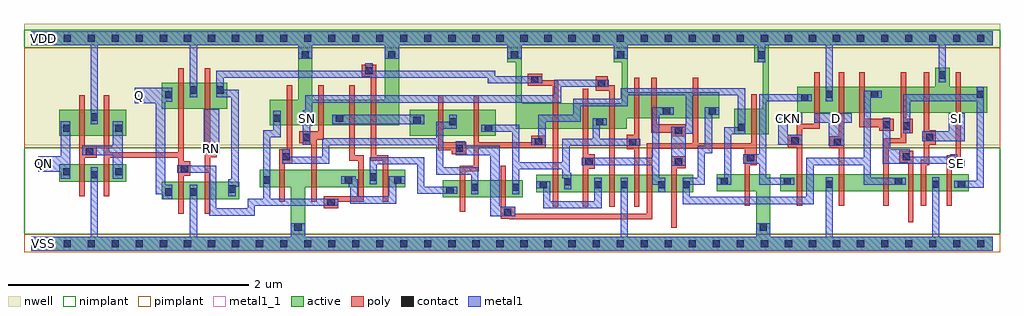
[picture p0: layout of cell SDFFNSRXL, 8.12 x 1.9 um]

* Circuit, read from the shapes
.subckt SDFFNSRXL CKN D Q QN RN SE SI SN VDD VSS
M1 VSS n1 QN VSS nfet w=0.145u l=0.045u
M2 n1 n2 VSS VSS nfet w=0.145u l=0.045u
M3 VSS n2 Q VSS nfet w=0.145u l=0.045u
M4 n3 RN VSS VSS nfet w=0.145u l=0.045u
M5 VSS n4 n2 VSS nfet w=0.145u l=0.045u
M6 n5 SN VSS VSS nfet w=0.145u l=0.045u
M7 n6 n2 n5 VSS nfet w=0.145u l=0.045u
M8 n5 n3 n6 VSS nfet w=0.145u l=0.045u
M9 n4 n7 n6 VSS nfet w=0.145u l=0.045u
M10 n8 n9 n4 VSS nfet w=0.145u l=0.045u
M11 n8 n3 n10 VSS nfet w=0.145u l=0.045u
M12 n10 n11 n8 VSS nfet w=0.145u l=0.045u
M13 VSS SN n10 VSS nfet w=0.145u l=0.045u
M14 n12 n8 VSS VSS nfet w=0.145u l=0.045u
M15 n11 n9 n12 VSS nfet w=0.145u l=0.045u
M16 n13 n7 n11 VSS nfet w=0.145u l=0.045u
M17 VSS n9 n7 VSS nfet w=0.145u l=0.045u
M18 VSS CKN n9 VSS nfet w=0.145u l=0.045u
M19 n14 D VSS VSS nfet w=0.145u l=0.045u
M20 n13 n15 n14 VSS nfet w=0.145u l=0.045u
M21 n16 SE n13 VSS nfet w=0.145u l=0.045u
M22 VSS SI n16 VSS nfet w=0.145u l=0.045u
M23 n15 SE VSS VSS nfet w=0.145u l=0.045u
M24 VDD n1 QN VDD pfet w=0.215u l=0.045u
M25 n1 n2 VDD VDD pfet w=0.215u l=0.045u
M26 VDD n2 Q VDD pfet w=0.215u l=0.045u
M27 n3 RN VDD VDD pfet w=0.215u l=0.045u
M28 VDD n4 n2 VDD pfet w=0.215u l=0.045u
M29 n17 SN VDD VDD pfet w=0.215u l=0.045u
M30 n18 n2 n17 VDD pfet w=0.215u l=0.045u
M31 VDD n3 n18 VDD pfet w=0.215u l=0.045u
M32 n4 n9 n17 VDD pfet w=0.215u l=0.045u
M33 n8 n7 n4 VDD pfet w=0.215u l=0.045u
M34 n19 n3 VDD VDD pfet w=0.215u l=0.045u
M35 n8 n11 n19 VDD pfet w=0.215u l=0.045u
M36 VDD SN n8 VDD pfet w=0.215u l=0.045u
M37 n20 n8 VDD VDD pfet w=0.215u l=0.045u
M38 n11 n7 n20 VDD pfet w=0.215u l=0.045u
M39 n13 n9 n11 VDD pfet w=0.215u l=0.045u
M40 VDD n9 n7 VDD pfet w=0.215u l=0.045u
M41 VDD CKN n9 VDD pfet w=0.215u l=0.045u
M42 n21 D VDD VDD pfet w=0.215u l=0.045u
M43 n13 SE n21 VDD pfet w=0.215u l=0.045u
M44 n22 n15 n13 VDD pfet w=0.215u l=0.045u
M45 VDD SI n22 VDD pfet w=0.215u l=0.045u
M46 n15 SE VDD VDD pfet w=0.215u l=0.045u
.ends

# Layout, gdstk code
import gdstk
lib = gdstk.Library(unit=1e-6, precision=5e-10)
def R(c, l, rs):  # rectangles x0, y0, x1, y1
    for r in rs: c.add(gdstk.rectangle(r[:2], r[2:], *l))
def A(c, l, x, y, w, h, nx, ny, dx, dy):  # array of equal rectangles
    R(c, l, [(x+i*dx, y+j*dy, x+i*dx+w, y+j*dy+h) for i in range(nx) for j in range(ny)])
def P(c, l, *ps):  # polygons
    for p in ps: c.add(gdstk.Polygon(p, *l))
active = (1, 0)
nwell = (2, 0)
poly = (3, 0)
nimplant = (4, 0)
pimplant = (5, 0)
contact = (6, 0)
metal1 = (7, 0)
metal1_1 = (7, 1)

sdffnsrxl = lib.new_cell('SDFFNSRXL')
R(sdffnsrxl, active, [(1.085,0.37,1.73,0.515), (3.425,0.385,4.09,0.53), (4.2,0.43,5.51,0.575), (6.23,0.435,7.8,0.58), (0.235,0.515,0.79,0.66), (0.235,0.9,0.79,1.115), (3.15,0.9,3.865,1.115), (1.085,1.125,1.63,1.34)])
P(sdffnsrxl, active, [(0,1.77),(8,1.77),(8,1.65),(6.135,1.65),(6.135,0.91),(5.85,0.91),(5.85,1.125),(6.085,1.125),(6.085,1.51),(6.015,1.51),(6.015,1.65),(4.965,1.65),(4.965,1.26),(5.725,1.26),(5.725,1.045),(4.955,1.045),(4.955,0.955),(4.03,0.955),(4.03,1.51),(3.96,1.51),(3.96,1.65),(4.08,1.65),(4.08,1.17),(4.915,1.17),(4.915,1.51),(4.845,1.51),(4.845,1.65),(3.06,1.65),(3.06,0.985),(1.985,0.985),(1.985,1.2),(2.22,1.2),(2.22,1.65),(2.34,1.65),(2.34,1.2),(2.94,1.2),(2.94,1.65),(0,1.65)],
  [(7.52,1.465),(7.64,1.465),(7.64,1.305),(7.955,1.305),(7.955,1.09),(6.375,1.09),(6.375,1.305),(7.52,1.305)],
  [(1.9,0.615),(3.11,0.615),(3.11,0.47),(2.28,0.47),(2.28,0.06),(6.03,0.06),(6.03,0.435),(5.705,0.435),(5.705,0.58),(6.15,0.58),(6.15,0.06),(8,0.06),(8,-0.06),(0,-0.06),(0,0.06),(2.16,0.06),(2.16,0.47),(1.9,0.47)])
R(sdffnsrxl, nwell, [(-0.06,0.82,8.06,1.83)])
P(sdffnsrxl, poly, [(0.4,1.235),(0.445,1.235),(0.445,0.815),(0.545,0.815),(0.545,0.715),(0.445,0.715),(0.445,0.395),(0.4,0.395)],
  [(0.605,1.235),(0.65,1.235),(0.65,0.76),(1.225,0.76),(1.225,1.46),(1.27,1.46),(1.27,0.685),(1.325,0.685),(1.325,0.565),(1.27,0.565),(1.27,0.25),(1.225,0.25),(1.225,0.715),(0.65,0.715),(0.65,0.395),(0.605,0.395)],
  [(1.445,1.46),(1.49,1.46),(1.49,0.84),(1.545,0.84),(1.545,0.72),(1.49,0.72),(1.49,0.25),(1.445,0.25)],
  [(2.125,1.32),(2.17,1.32),(2.17,0.665),(2.11,0.665),(2.11,0.35),(2.065,0.35),(2.065,0.785),(2.125,0.785)],
  [(2.75,1.49),(2.87,1.49),(2.87,0.735),(2.97,0.735),(2.97,0.35),(2.925,0.35),(2.925,0.69),(2.825,0.69),(2.825,1.39),(2.75,1.39)],
  [(2.39,1.32),(2.435,1.32),(2.435,0.865),(2.375,0.865),(2.375,0.35),(2.33,0.35),(2.33,0.835),(2.23,0.835),(2.23,0.935),(2.39,0.935)],
  [(2.645,1.32),(2.69,1.32),(2.69,0.735),(2.765,0.735),(2.765,0.35),(2.555,0.35),(2.555,0.295),(2.435,0.295),(2.435,0.395),(2.72,0.395),(2.72,0.69),(2.645,0.69)],
  [(3.385,1.235),(3.43,1.235),(3.43,0.845),(3.62,0.845),(3.62,0.745),(3.5,0.745),(3.5,0.78),(3.385,0.78)],
  [(3.68,1.235),(3.725,1.235),(3.725,0.845),(4.16,0.845),(4.16,0.9),(4.28,0.9),(4.28,0.8),(3.725,0.8),(3.725,0.605),(3.61,0.605),(3.61,0.265),(3.565,0.265),(3.565,0.65),(3.68,0.65)],
  [(4.695,1.395),(4.795,1.395),(4.795,1.32),(4.855,1.32),(4.855,0.31),(4.81,0.31),(4.81,1.275),(4.695,1.275)],
  [(4.13,1.415),(4.25,1.415),(4.25,1.36),(4.385,1.36),(4.385,0.31),(4.34,0.31),(4.34,1.315),(4.13,1.315)],
  [(5.015,1.38),(5.06,1.38),(5.06,0.31),(5.015,0.31),(5.015,0.785),(4.955,0.785),(4.955,0.905),(5.015,0.905)],
  [(5.16,1.38),(5.205,1.38),(5.205,0.995),(5.445,0.995),(5.445,0.895),(5.325,0.895),(5.325,0.925),(5.16,0.925)],
  [(5.505,1.38),(5.55,1.38),(5.55,0.835),(5.99,0.835),(5.99,1.245),(6.035,1.245),(6.035,0.655),(5.98,0.655),(5.98,0.315),(5.935,0.315),(5.935,0.79),(5.165,0.79),(5.165,0.205),(3.98,0.205),(3.98,0.21),(3.905,0.21),(3.905,0.65),(3.95,0.65),(3.95,0.31),(4.025,0.31),(4.025,0.25),(5.12,0.25),(5.12,0.835),(5.505,0.835)],
  [(6.515,1.425),(6.56,1.425),(6.56,0.955),(6.415,0.955),(6.415,0.315),(6.37,0.315),(6.37,0.805),(6.295,0.805),(6.295,0.905),(6.37,0.905),(6.37,1),(6.515,1)],
  [(6.72,1.425),(6.765,1.425),(6.765,0.315),(6.72,0.315),(6.72,0.795),(6.645,0.795),(6.645,0.895),(6.72,0.895)],
  [(6.89,1.425),(6.935,1.425),(6.935,1.04),(7.175,1.04),(7.175,0.94),(7.055,0.94),(7.055,0.97),(6.89,0.97)],
  [(7.235,1.425),(7.28,1.425),(7.28,1.04),(7.335,1.04),(7.335,0.92),(7.28,0.92),(7.28,0.835),(7.135,0.835),(7.135,0.315),(7.09,0.315),(7.09,0.88),(7.235,0.88)],
  [(7.425,1.425),(7.47,1.425),(7.47,0.945),(7.525,0.945),(7.525,0.825),(7.47,0.825),(7.47,0.655),(7.445,0.655),(7.445,0.315),(7.4,0.315),(7.4,0.7),(7.425,0.7)],
  [(7.69,1.425),(7.735,1.425),(7.735,0.635),(7.66,0.635),(7.66,0.315),(7.615,0.315),(7.615,0.735),(7.69,0.735)],
  [(4.59,1.29),(4.635,1.29),(4.635,0.745),(4.69,0.745),(4.69,0.625),(4.635,0.625),(4.635,0.31),(4.59,0.31)],
  [(7.22,0.775),(7.34,0.775),(7.34,0.18),(7.295,0.18),(7.295,0.675),(7.22,0.675)],
  [(5.325,0.73),(5.445,0.73),(5.445,0.63),(5.37,0.63),(5.37,0.135),(5.325,0.135)])
R(sdffnsrxl, nimplant, [(-0.06,0.08,8.06,0.8), (-0.06,1.63,8.06,1.78)])
R(sdffnsrxl, pimplant, [(-0.06,-0.07,8.06,0.08), (-0.06,0.8,8.06,1.63)])
A(sdffnsrxl, contact, 0.07, -0.03, 0.06, 0.06, 40, 2, 0.2, 1.71)
R(sdffnsrxl, contact, [(2.19,0.11,2.25,0.17), (6.06,0.11,6.12,0.17), (3.935,0.23,3.995,0.29), (2.465,0.315,2.525,0.375), (1.115,0.4,1.175,0.46), (1.32,0.4,1.38,0.46), (3.455,0.415,3.515,0.475), (1.64,0.425,1.7,0.485), (3.66,0.44,3.72,0.5), (4,0.44,4.06,0.5), (4.23,0.46,4.29,0.52), (4.685,0.46,4.745,0.52), (4.905,0.46,4.965,0.52), (5.215,0.46,5.275,0.52), (5.42,0.46,5.48,0.52), (6.61,0.465,6.67,0.525), (7.495,0.465,7.555,0.525), (7.71,0.465,7.77,0.525), (4.435,0.485,4.495,0.545), (5.735,0.49,5.795,0.55), (6.26,0.49,6.32,0.55), (7.185,0.49,7.245,0.55), (1.93,0.5,1.99,0.56), (2.61,0.5,2.67,0.56), (3.02,0.5,3.08,0.56), (2.815,0.525,2.875,0.585), (0.495,0.545,0.555,0.605), (0.265,0.57,0.325,0.63), (0.7,0.57,0.76,0.63), (1.245,0.595,1.305,0.655), (5.355,0.65,5.415,0.71), (4.61,0.655,4.67,0.715), (7.645,0.655,7.705,0.715), (5.955,0.685,6.015,0.745), (2.09,0.695,2.15,0.755), (7.25,0.695,7.31,0.755), (0.455,0.735,0.515,0.795), (1.465,0.75,1.525,0.81), (3.53,0.765,3.59,0.825), (4.975,0.815,5.035,0.875), (6.675,0.815,6.735,0.875), (4.19,0.82,4.25,0.88), (6.325,0.825,6.385,0.885), (2.26,0.855,2.32,0.915), (7.445,0.855,7.505,0.915), (5.355,0.915,5.415,0.975), (0.265,0.93,0.325,0.99), (0.7,0.93,0.76,0.99), (3.775,0.93,3.835,0.99), (5.88,0.94,5.94,1), (7.255,0.95,7.315,1.01), (7.085,0.96,7.145,1.02), (3.48,0.985,3.54,1.045), (4.7,0.985,4.76,1.045), (3.18,0.995,3.24,1.055), (2.015,1.015,2.075,1.075), (2.535,1.015,2.595,1.075), (0.495,1.025,0.555,1.085), (5.255,1.075,5.315,1.135), (5.635,1.075,5.695,1.135), (6.405,1.185,6.465,1.245), (1.115,1.21,1.175,1.27), (6.61,1.215,6.67,1.275), (6.985,1.215,7.045,1.275), (7.865,1.215,7.925,1.275), (1.32,1.25,1.38,1.31), (1.54,1.25,1.6,1.31), (4.715,1.305,4.775,1.365), (4.16,1.335,4.22,1.395), (7.55,1.375,7.61,1.435), (2.78,1.41,2.84,1.47), (2.25,1.54,2.31,1.6), (2.97,1.54,3.03,1.6), (3.99,1.54,4.05,1.6), (4.875,1.54,4.935,1.6), (6.045,1.54,6.105,1.6)])
R(sdffnsrxl, metal1, [(1.435,0.75,1.565,1.12), (2.505,0.995,3.27,1.075)])
P(sdffnsrxl, metal1, [(0,1.77),(8,1.77),(8,1.65),(7.61,1.65),(7.61,1.345),(7.55,1.345),(7.55,1.65),(6.67,1.65),(6.67,1.185),(6.61,1.185),(6.61,1.65),(6.105,1.65),(6.105,1.51),(6.045,1.51),(6.045,1.65),(4.965,1.65),(4.965,1.54),(4.845,1.54),(4.845,1.65),(4.08,1.65),(4.08,1.54),(3.96,1.54),(3.96,1.65),(3.06,1.65),(3.06,1.54),(2.94,1.54),(2.94,1.65),(2.34,1.65),(2.34,1.54),(2.22,1.54),(2.22,1.65),(1.38,1.65),(1.38,1.22),(1.32,1.22),(1.32,1.65),(0.555,1.65),(0.555,0.995),(0.495,0.995),(0.495,1.65),(0,1.65)],
  [(2.78,1.5),(2.84,1.5),(2.84,1.44),(3.86,1.44),(3.86,1.395),(4.25,1.395),(4.25,1.335),(3.8,1.335),(3.8,1.38),(1.6,1.38),(1.6,1.28),(1.725,1.28),(1.725,0.475),(1.7,0.475),(1.7,0.395),(1.64,0.395),(1.64,0.535),(1.665,0.535),(1.665,1.22),(1.54,1.22),(1.54,1.44),(2.78,1.44)],
  [(0.86,1.3),(1.175,1.3),(1.175,1.18),(1.115,1.18),(1.115,0.49),(1.175,0.49),(1.175,0.37),(1.095,0.37),(1.095,0.41),(1.035,0.41),(1.035,1.17),(0.86,1.17)],
  [(0.245,1.02),(0.325,1.02),(0.325,0.54),(0.245,0.54),(0.245,0.6),(0.06,0.6),(0.06,0.73),(0.245,0.73)],
  [(0.68,1.02),(0.76,1.02),(0.76,0.54),(0.68,0.54),(0.68,0.735),(0.425,0.735),(0.425,0.815),(0.68,0.815)],
  [(4.35,1.365),(4.805,1.365),(4.805,1.305),(4.41,1.305),(4.41,1.175),(2.34,1.175),(2.34,0.98),(2.32,0.98),(2.32,0.825),(2.26,0.825),(2.26,1.11),(2.28,1.11),(2.28,1.235),(4.35,1.235)],
  [(4.905,1.295),(5.94,1.295),(5.94,0.91),(5.825,0.91),(5.825,0.49),(5.705,0.49),(5.705,0.55),(5.765,0.55),(5.765,0.97),(5.88,0.97),(5.88,1.235),(5.505,1.235),(5.505,0.915),(5.445,0.915),(5.445,0.65),(5.325,0.65),(5.325,0.975),(5.445,0.975),(5.445,1.235),(4.965,1.235),(4.965,1.145),(4.57,1.145),(4.57,1.015),(4.28,1.015),(4.28,0.82),(4.16,0.82),(4.16,0.88),(4.22,0.88),(4.22,1.075),(4.51,1.075),(4.51,1.205),(4.905,1.205)],
  [(5.165,1.135),(5.345,1.135),(5.345,1.075),(5.225,1.075),(5.225,0.55),(5.275,0.55),(5.275,0.43),(5.215,0.43),(5.215,0.49),(5.165,0.49),(5.165,0.655),(4.58,0.655),(4.58,0.715),(5.165,0.715)],
  [(0.495,0.635),(0.555,0.635),(0.555,0.06),(1.32,0.06),(1.32,0.49),(1.38,0.49),(1.38,0.06),(2.16,0.06),(2.16,0.17),(2.28,0.17),(2.28,0.06),(4.905,0.06),(4.905,0.55),(4.965,0.55),(4.965,0.06),(6.03,0.06),(6.03,0.17),(6.15,0.17),(6.15,0.06),(6.61,0.06),(6.61,0.555),(6.67,0.555),(6.67,0.06),(7.495,0.06),(7.495,0.555),(7.555,0.555),(7.555,0.06),(8,0.06),(8,-0.06),(0,-0.06),(0,0.06),(0.495,0.06)],
  [(2.015,1.105),(2.075,1.105),(2.075,0.885),(1.99,0.885),(1.99,0.375),(2.555,0.375),(2.555,0.315),(1.86,0.315),(1.86,0.235),(1.48,0.235),(1.48,0.59),(1.215,0.59),(1.215,0.655),(1.335,0.655),(1.335,0.65),(1.54,0.65),(1.54,0.295),(1.8,0.295),(1.8,0.375),(1.93,0.375),(1.93,0.945),(2.015,0.945)],
  [(3.48,1.075),(3.54,1.075),(3.54,0.955),(3.43,0.955),(3.43,0.635),(3.72,0.635),(3.72,0.41),(3.66,0.41),(3.66,0.575),(3.37,0.575),(3.37,0.82),(2.48,0.82),(2.48,0.665),(2.09,0.665),(2.09,0.785),(2.15,0.785),(2.15,0.725),(2.42,0.725),(2.42,0.88),(3.37,0.88),(3.37,1.015),(3.48,1.015)],
  [(3.745,0.99),(4.06,0.99),(4.06,0.68),(4.42,0.68),(4.42,0.875),(4.67,0.875),(4.67,1.045),(4.79,1.045),(4.79,0.985),(4.73,0.985),(4.73,0.875),(5.065,0.875),(5.065,0.815),(4.48,0.815),(4.48,0.59),(4.495,0.59),(4.495,0.455),(4.435,0.455),(4.435,0.545),(4.42,0.545),(4.42,0.62),(4.06,0.62),(4.06,0.41),(4,0.41),(4,0.93),(3.745,0.93)],
  [(3.53,0.855),(3.61,0.855),(3.61,0.815),(3.9,0.815),(3.9,0.31),(4.025,0.31),(4.025,0.23),(3.82,0.23),(3.82,0.735),(3.53,0.735)],
  [(2.815,0.72),(3.27,0.72),(3.27,0.475),(3.545,0.475),(3.545,0.415),(3.21,0.415),(3.21,0.66),(2.875,0.66),(2.875,0.495),(2.815,0.495)],
  [(2.58,0.56),(2.7,0.56),(2.7,0.535),(2.715,0.535),(2.715,0.395),(2.975,0.395),(2.975,0.56),(3.11,0.56),(3.11,0.5),(3.035,0.5),(3.035,0.335),(2.655,0.335),(2.655,0.475),(2.64,0.475),(2.64,0.5),(2.58,0.5)],
  [(6.925,1.275),(7.075,1.275),(7.075,1.215),(6.985,1.215),(6.985,0.55),(7.275,0.55),(7.275,0.49),(6.925,0.49),(6.925,0.655),(6.51,0.655),(6.51,0.33),(5.42,0.33),(5.42,0.55),(5.545,0.55),(5.545,0.815),(5.605,0.815),(5.605,1.135),(5.725,1.135),(5.725,1.075),(5.665,1.075),(5.665,0.755),(5.605,0.755),(5.605,0.49),(5.48,0.49),(5.48,0.39),(6.45,0.39),(6.45,0.715),(6.925,0.715)],
  [(7.865,1.305),(7.925,1.305),(7.925,0.465),(7.68,0.465),(7.68,0.525),(7.865,0.525),(7.865,1.185),(7.315,1.185),(7.315,0.92),(7.255,0.92),(7.255,1.245),(7.865,1.245)],
  [(6.055,1.245),(6.495,1.245),(6.495,1.185),(6.115,1.185),(6.115,0.55),(6.35,0.55),(6.35,0.49),(6.055,0.49),(6.055,0.665),(5.925,0.665),(5.925,0.745),(6.055,0.745)],
  [(4.2,0.52),(4.32,0.52),(4.32,0.355),(4.685,0.355),(4.685,0.55),(4.745,0.55),(4.745,0.295),(4.26,0.295),(4.26,0.46),(4.2,0.46)],
  [(6.215,1.085),(6.415,1.085),(6.415,1.005),(6.295,1.005),(6.295,0.905),(6.415,0.905),(6.415,0.825),(6.215,0.825)],
  [(6.515,1.085),(6.825,1.085),(6.825,1.005),(6.765,1.005),(6.765,0.815),(6.635,0.815),(6.635,1.005),(6.515,1.005)],
  [(7.085,1.05),(7.145,1.05),(7.145,0.785),(7.31,0.785),(7.31,0.725),(7.645,0.725),(7.645,0.745),(7.705,0.745),(7.705,0.705),(7.765,0.705),(7.765,0.625),(7.635,0.625),(7.635,0.665),(7.085,0.665)],
  [(7.635,1.085),(7.765,1.085),(7.765,0.855),(7.415,0.855),(7.415,0.935),(7.635,0.935)])
R(sdffnsrxl, metal1_1, [(0.06,-0.04,0.14,0.04), (0.06,0.625,0.14,0.705), (7.66,0.625,7.74,0.705), (1.46,0.75,1.54,0.83), (2.26,1.005,2.34,1.085), (6.26,1.005,6.34,1.085), (6.66,1.005,6.74,1.085), (7.66,1.005,7.74,1.085), (0.86,1.195,0.94,1.275), (0.06,1.67,0.14,1.75)])
sdffnsrxl.add(gdstk.Label('Q', (0.9,1.235), layer=7, texttype=1))
sdffnsrxl.add(gdstk.Label('QN', (0.1,0.665), layer=7, texttype=1))
sdffnsrxl.add(gdstk.Label('SE', (7.7,0.665), layer=7, texttype=1))
sdffnsrxl.add(gdstk.Label('SI', (7.7,1.045), layer=7, texttype=1))
sdffnsrxl.add(gdstk.Label('D', (6.7,1.045), layer=7, texttype=1))
sdffnsrxl.add(gdstk.Label('CKN', (6.3,1.045), layer=7, texttype=1))
sdffnsrxl.add(gdstk.Label('SN', (2.3,1.045), layer=7, texttype=1))
sdffnsrxl.add(gdstk.Label('RN', (1.5,0.79), layer=7, texttype=1))
sdffnsrxl.add(gdstk.Label('VDD', (0.1,1.71), layer=7, texttype=1))
sdffnsrxl.add(gdstk.Label('VSS', (0.1,0), layer=7, texttype=1))
sdffnsrxl.add(gdstk.Label('SDFFNSRXL', (0,0), layer=63, texttype=0))

lib.write_gds('SDFFNSRXL.gds')
